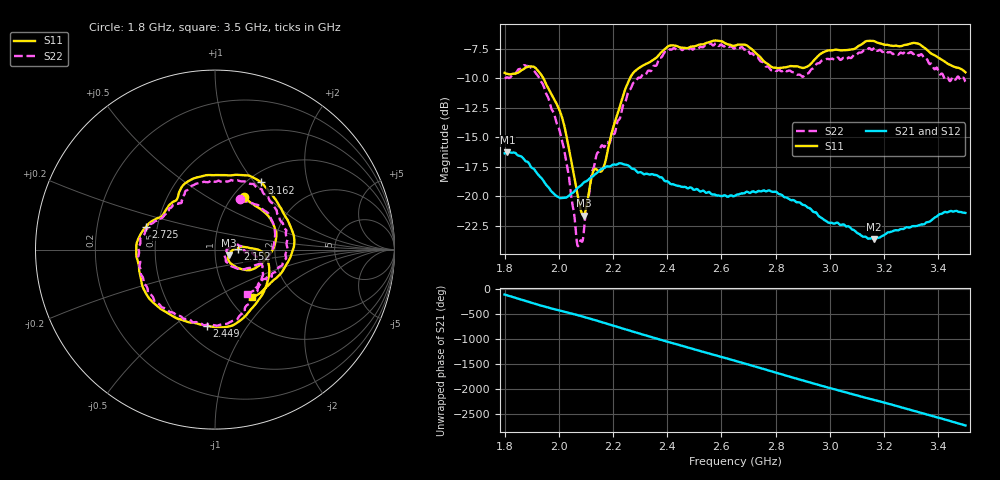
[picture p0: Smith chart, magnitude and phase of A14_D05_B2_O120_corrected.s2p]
! Created with skrf 1.9.0 (http://scikit-rf.org).
# Hz S RI R 50.0
!freq ReS11 ImS11 ReS21 ImS21 ReS12 ImS12 ReS22 ImS22
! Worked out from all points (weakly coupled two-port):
!   1601 points, 1.8 GHz to 3.5 GHz, reference 50 ohm
!   highest |S21| = -16.27 dB at 1.811 GHz (marker M1); lowest = -23.6 dB at 3.161 GHz (marker M2)
!   lowest |S11| = -21.6 dB at 2.091 GHz (marker M3), VSWR 1.18, Z = 58.2 - j3.54 ohm
!   |S11| at or under -10 dB: 1.943 GHz to 2.262 GHz (319.6 MHz wide, 15.2 % of centre)
!   |S22| runs from -24.2 to -7.0 dB; largest |S21 - S12| = 0.0029
!   S11 on the Smith chart (normalised r, x): 1.8 GHz: 1.13, +0.74; 2.152 GHz: 1.29, +0.01; 2.449 GHz: 0.64, -0.66; 2.725 GHz: 0.43, +0.13; 3.162 GHz: 1.15, +1.08; 3.5 GHz: 1.27, -0.75
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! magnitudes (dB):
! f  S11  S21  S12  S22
! 1.8 GHz  -9.5  -16.4  -16.4  -10.0
! 1.811 GHz  -9.6  -16.3  -16.3  -9.9
! 1.881 GHz  -9.1  -17.1  -17.1  -9.0
! 1.941 GHz  -9.9  -18.6  -18.6  -10.5
! 2.014 GHz  -13.5  -20.1  -20.2  -15.5
! 2.067 GHz  -19.6  -19.3  -19.4  -23.9
! 2.084 GHz  -21.4  -19.0  -19.0  -23.8
! 2.091 GHz  -21.6  -18.9  -18.9  -23.3
! 2.127 GHz  -17.9  -18.3  -18.3  -17.7
! 2.152 GHz  -17.9  -17.8  -17.8  -16.0
! 2.203 GHz  -14.0  -17.3  -17.3  -14.7
! 2.262 GHz  -10.0  -17.5  -17.5  -11.0
! 2.367 GHz  -8.1  -18.3  -18.3  -8.4
! 2.449 GHz  -7.4  -19.2  -19.2  -7.5
! 2.65 GHz  -7.2  -20.0  -19.9  -7.5
! 2.725 GHz  -7.8  -19.7  -19.7  -8.2
! 2.934 GHz  -8.7  -21.2  -21.2  -9.2
! 3.161 GHz  -6.9  -23.6  -23.6  -7.5
! 3.162 GHz  -6.9  -23.6  -23.6  -7.4
! 3.217 GHz  -7.2  -23.1  -23.0  -7.8
! 3.324 GHz  -7.1  -22.5  -22.5  -8.0
! 3.5 GHz  -9.5  -21.4  -21.4  -10.3
